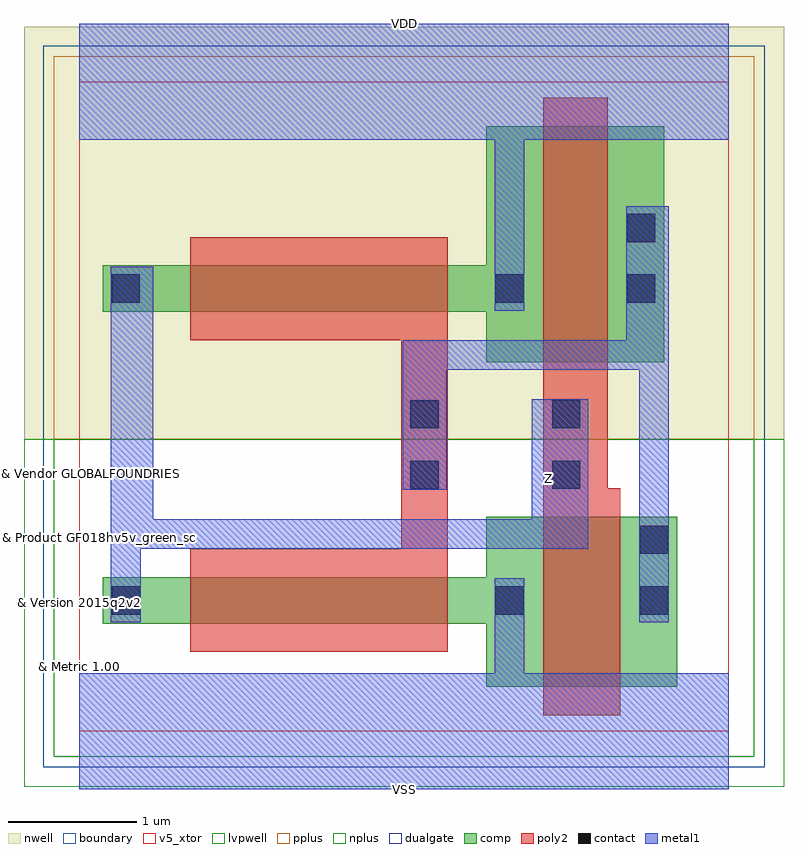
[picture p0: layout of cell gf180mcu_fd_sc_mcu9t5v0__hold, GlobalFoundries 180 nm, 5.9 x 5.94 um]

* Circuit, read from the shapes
.subckt gf180mcu_fd_sc_mcu9t5v0__hold VDD VSS Z
XM1 VSS n1 Z VSUBS nfet_05v0 w=0.36u l=2u
XM2 n1 Z VSS VSUBS nfet_05v0 w=1.32u l=0.6u
XM3 VDD n1 Z n2 pfet_05v0 w=0.36u l=2u
XM4 n1 Z VDD n2 pfet_05v0 w=1.83u l=0.5u
.ends

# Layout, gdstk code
import gdstk
lib = gdstk.Library(unit=1e-6, precision=1e-09)
def R(c, l, rs):  # rectangles x0, y0, x1, y1
    for r in rs: c.add(gdstk.rectangle(r[:2], r[2:], *l))
def P(c, l, *ps):  # polygons
    for p in ps: c.add(gdstk.Polygon(p, *l))
boundary = (0, 0)
nwell = (21, 0)
comp = (22, 0)
poly2 = (30, 0)
pplus = (31, 0)
nplus = (32, 0)
contact = (33, 0)
metal1 = (34, 0)
dualgate = (55, 0)
v5_xtor = (112, 1)
lvpwell = (204, 0)

gf180mcu_fd_sc_mcu9t5v0_ = lib.new_cell('gf180mcu_fd_sc_mcu9t5v0__hold')
R(gf180mcu_fd_sc_mcu9t5v0_, boundary, [(0,0,5.04,5.04)])
R(gf180mcu_fd_sc_mcu9t5v0_, nwell, [(-0.43,2.265,5.47,5.47)])
P(gf180mcu_fd_sc_mcu9t5v0_, comp, [(3.16,2.865),(3.16,3.255),(0.18,3.255),(0.18,3.615),(3.16,3.615),(3.16,4.695),(4.54,4.695),(4.54,2.865)],
  [(3.16,0.345),(3.16,0.835),(0.18,0.835),(0.18,1.195),(3.16,1.195),(3.16,1.665),(4.64,1.665),(4.64,0.345)])
P(gf180mcu_fd_sc_mcu9t5v0_, poly2, [(0.86,0.615),(0.86,1.415),(2.5,1.415),(2.5,3.035),(0.86,3.035),(0.86,3.835),(2.86,3.835),(2.86,0.615)],
  [(3.6,0.125),(3.6,4.915),(4.1,4.915),(4.1,1.885),(4.2,1.885),(4.2,0.125)])
R(gf180mcu_fd_sc_mcu9t5v0_, pplus, [(-0.2,2.265,5.24,5.24)])
R(gf180mcu_fd_sc_mcu9t5v0_, nplus, [(-0.2,-0.2,5.24,2.265)])
R(gf180mcu_fd_sc_mcu9t5v0_, contact, [(0.25,0.905,0.47,1.125), (3.23,0.905,3.45,1.125), (4.35,0.905,4.57,1.125), (4.35,1.375,4.57,1.595), (2.57,1.88,2.79,2.1), (3.67,1.88,3.89,2.1), (2.57,2.35,2.79,2.57), (3.67,2.35,3.89,2.57), (0.25,3.325,0.47,3.545), (3.23,3.325,3.45,3.545), (4.25,3.325,4.47,3.545), (4.25,3.795,4.47,4.015)])
P(gf180mcu_fd_sc_mcu9t5v0_, metal1, [(0.245,0.845),(0.245,3.605),(0.575,3.605),(0.575,1.645),(3.51,1.645),(3.51,2.575),(3.95,2.575),(3.95,1.415),(0.475,1.415),(0.475,0.845)],
  [(4.345,0.845),(4.345,2.805),(2.85,2.805),(2.85,1.875),(2.51,1.875),(2.51,3.035),(4.245,3.035),(4.245,4.075),(4.575,4.075),(4.575,0.845)],
  [(0,-0.45),(0,0.45),(3.225,0.45),(3.225,1.185),(3.455,1.185),(3.455,0.45),(5.04,0.45),(5.04,-0.45)],
  [(3.225,3.265),(3.225,4.59),(0,4.59),(0,5.49),(5.04,5.49),(5.04,4.59),(3.455,4.59),(3.455,3.265)])
R(gf180mcu_fd_sc_mcu9t5v0_, dualgate, [(-0.28,-0.28,5.32,5.32)])
R(gf180mcu_fd_sc_mcu9t5v0_, v5_xtor, [(0,0,5.04,5.04)])
R(gf180mcu_fd_sc_mcu9t5v0_, lvpwell, [(-0.43,-0.43,5.47,2.265)])
gf180mcu_fd_sc_mcu9t5v0_.add(gdstk.Label('Z', (3.64,1.96), layer=34, texttype=10))
gf180mcu_fd_sc_mcu9t5v0_.add(gdstk.Label('VSS', (2.52,-0.45), layer=34, texttype=10))
gf180mcu_fd_sc_mcu9t5v0_.add(gdstk.Label('VDD', (2.52,5.49), layer=34, texttype=10))
gf180mcu_fd_sc_mcu9t5v0_.add(gdstk.Label('& Vendor GLOBALFOUNDRIES', (0,2), layer=63, texttype=63))
gf180mcu_fd_sc_mcu9t5v0_.add(gdstk.Label('& Product GF018hv5v_green_sc9', (0,1.5), layer=63, texttype=63))
gf180mcu_fd_sc_mcu9t5v0_.add(gdstk.Label('& Version 2015q2v2', (0,1), layer=63, texttype=63))
gf180mcu_fd_sc_mcu9t5v0_.add(gdstk.Label('& Metric 1.00', (0,0.5), layer=63, texttype=63))

lib.write_gds('gf180mcu_fd_sc_mcu9t5v0__hold.gds')
